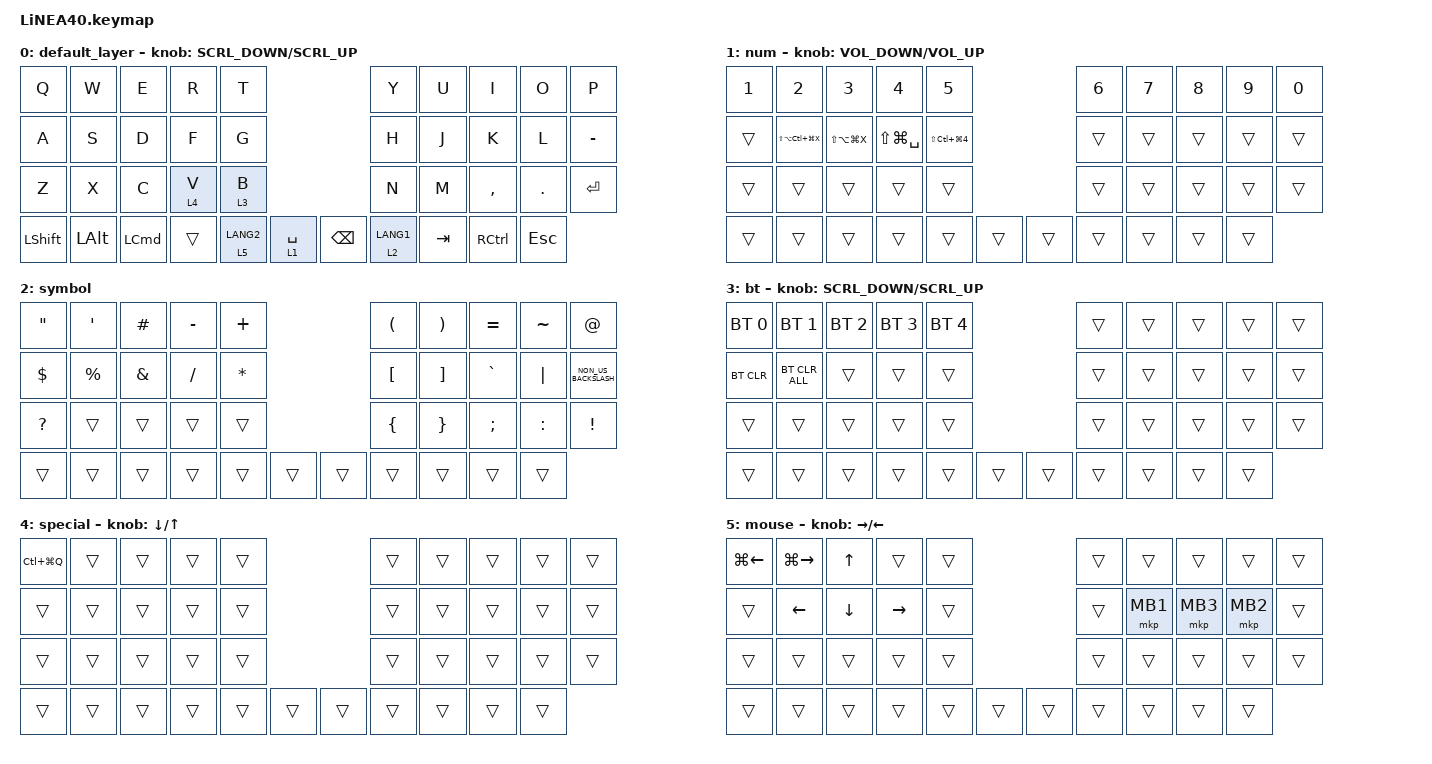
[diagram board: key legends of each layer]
#define ZMK_POINTING_DEFAULT_SCRL_VAL 150

#include <dt-bindings/zmk/input_transform.h>
#include <input/processors.dtsi>
#include <zephyr/dt-bindings/input/input-event-codes.h>
#include <behaviors.dtsi>
#include <dt-bindings/zmk/bt.h>
#include <dt-bindings/zmk/keys.h>
#include <dt-bindings/zmk/pointing.h>

#define MOUSE 1
#define MARK 2
#define CURSOR 3
#define FUNCTION 4
#define SCROLL 5
#define WIRELESS 6

//mouse cursol

&mmv {
    delay-ms = <20>;
    trigger-period-ms = <5>;
    time-to-max-speed-ms = <100>;
    acceleration-exponent = <2>;
};

//mouse scroll

&msc {
    delay-ms = <3>;
    trigger-period-ms = <3>;
    time-to-max-speed-ms = <100>;
    acceleration-exponent = <0>;
};

/ {
    input_processors {
        zip_wheel_scaler: zip_wheel_scaler {
            compatible = "zmk,input-processor-scaler";
            #input-processor-cells = <2>;
            type = <INPUT_EV_REL>;
            codes = <INPUT_REL_WHEEL>;
            track-remainders;
        };
    };
};

&msc_input_listener {
    speed_up {
        layers = <FUNCTION>;
        input-processors = <&zip_wheel_scaler 3 1>; //スクロールを3倍速にする
    };
};

/ {
    combos { compatible = "zmk,combos"; };

    behaviors {
        re_kp: sensor_rotate_kp {
            compatible = "zmk,behavior-sensor-rotate-var";
            #sensor-binding-cells = <2>;
            bindings = <&kp>, <&kp>;
        };

        mouse_scrl: mouse_wheel_scrl {
            compatible = "zmk,behavior-sensor-rotate-var";
            #sensor-binding-cells = <2>;
            bindings = <&msc>, <&msc>;

            tap-ms = <20>;
        };
    };

    keymap {
        compatible = "zmk,keymap";

        default_layer {
            bindings = <
&kp Q           &kp W         &kp E             &kp R    &kp T                                      &kp Y        &kp U  &kp I      &kp O      &kp P
&kp A           &kp S         &kp D             &kp F    &kp G                                      &kp H        &kp J  &kp K      &kp L      &kp MINUS
&kp Z           &kp X         &kp C             &lt 4 V  &lt 3 B                                    &kp N        &kp M  &kp COMMA  &kp DOT    &kp ENTER
&kp LEFT_SHIFT  &kp LEFT_ALT  &kp LEFT_COMMAND  &trans   &lt 5 LANG2  &lt 1 SPACE    &kp BACKSPACE  &lt 2 LANG1         &kp TAB    &kp RCTRL  &kp ESC
            >;

            sensor-bindings = <&mouse_scrl SCRL_DOWN SCRL_UP>;
        };

        num {
            bindings = <
&kp NUMBER_1  &kp NUMBER_2           &kp NUMBER_3       &kp NUMBER_4       &kp NUMBER_5                                &kp NUMBER_6  &kp NUMBER_7  &kp NUMBER_8  &kp NUMBER_9  &kp NUMBER_0
&trans        &kp LS(LA(LC(LG(X))))  &kp LS(LA(LG(X)))  &kp LS(LG(SPACE))  &kp LS(LC(LG(NUMBER_4)))                    &trans        &trans        &trans        &trans        &trans
&trans        &trans                 &trans             &trans             &trans                                      &trans        &trans        &trans        &trans        &trans
&trans        &trans                 &trans             &trans             &trans                    &trans    &trans  &trans                      &trans        &trans        &trans
            >;

            sensor-bindings = <&re_kp C_VOLUME_DOWN C_VOLUME_UP>;
        };

        symbol {
            bindings = <
&kp DOUBLE_QUOTES  &kp SQT      &kp HASH       &kp MINUS  &kp PLUS                        &kp LEFT_PARENTHESIS  &kp RIGHT_PARENTHESIS  &kp EQUAL      &kp TILDE  &kp AT_SIGN
&kp DOLLAR         &kp PERCENT  &kp AMPERSAND  &kp SLASH  &kp ASTERISK                    &kp LEFT_BRACKET      &kp RIGHT_BRACKET      &kp GRAVE      &kp PIPE   &kp NON_US_BACKSLASH
&kp QUESTION       &trans       &trans         &trans     &trans                          &kp LEFT_BRACE        &kp RIGHT_BRACE        &kp SEMICOLON  &kp COLON  &kp EXCLAMATION
&trans             &trans       &trans         &trans     &trans        &trans    &trans  &trans                                       &trans         &trans     &trans
            >;
        };

        bt {
            bindings = <
&bt BT_SEL 0  &bt BT_SEL 1    &bt BT_SEL 2  &bt BT_SEL 3  &bt BT_SEL 4                    &trans  &trans  &trans  &trans  &trans
&bt BT_CLR    &bt BT_CLR_ALL  &trans        &trans        &trans                          &trans  &trans  &trans  &trans  &trans
&trans        &trans          &trans        &trans        &trans                          &trans  &trans  &trans  &trans  &trans
&trans        &trans          &trans        &trans        &trans        &trans    &trans  &trans          &trans  &trans  &trans
            >;

            sensor-bindings = <&mouse_scrl SCRL_DOWN SCRL_UP>;
        };

        special {
            bindings = <
&kp LC(LG(Q))  &trans  &trans  &trans  &trans                    &trans  &trans  &trans  &trans  &trans
&trans         &trans  &trans  &trans  &trans                    &trans  &trans  &trans  &trans  &trans
&trans         &trans  &trans  &trans  &trans                    &trans  &trans  &trans  &trans  &trans
&trans         &trans  &trans  &trans  &trans  &trans    &trans  &trans          &trans  &trans  &trans
            >;

            sensor-bindings = <&inc_dec_kp DOWN_ARROW UP_ARROW>;
        };

        mouse {
            bindings = <
&kp LG(LEFT)  &kp LG(RIGHT)   &kp UP_ARROW    &trans     &trans                    &trans  &trans    &trans    &trans    &trans
&trans        &kp LEFT_ARROW  &kp DOWN_ARROW  &kp RIGHT  &trans                    &trans  &mkp MB1  &mkp MB3  &mkp MB2  &trans
&trans        &trans          &trans          &trans     &trans                    &trans  &trans    &trans    &trans    &trans
&trans        &trans          &trans          &trans     &trans  &trans    &trans  &trans            &trans    &trans    &trans
            >;

            sensor-bindings = <&inc_dec_kp RIGHT_ARROW LEFT_ARROW>;
        };
    };
};
